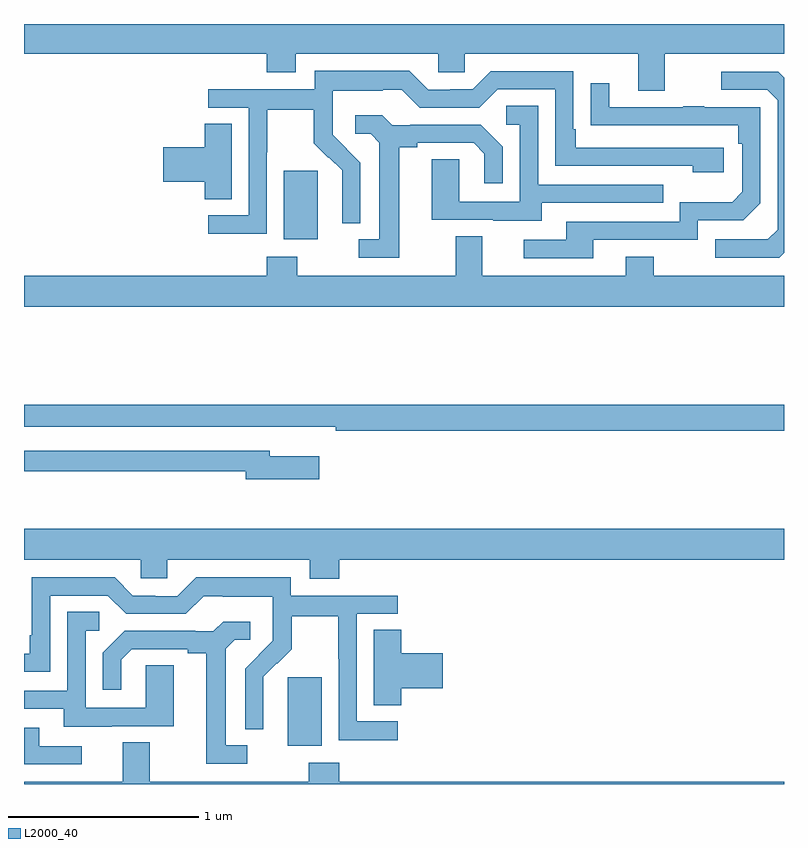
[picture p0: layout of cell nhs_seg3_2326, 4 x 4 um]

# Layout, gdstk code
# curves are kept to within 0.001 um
import gdstk
lib = gdstk.Library(unit=1e-6, precision=1e-09)
def R(c, l, rs):  # rectangles x0, y0, x1, y1
    for r in rs: c.add(gdstk.rectangle(r[:2], r[2:], *l))
def P(c, l, *ps):  # polygons
    for p in ps: c.add(gdstk.Polygon(p, *l))
L2000_40 = (2000, 40)

nhs_seg3_2326 = lib.new_cell('nhs_seg3_2326')
R(nhs_seg3_2326, L2000_40, [(232.388,702.602,232.567,702.963), (232.367,705.266,232.546,705.627)])
P(nhs_seg3_2326, L2000_40, [(231,706.244),(232.277,706.244),(232.277,706.145),(232.429,706.145),(232.429,706.244),(233.181,706.244),(233.181,706.146),(233.319,706.146),(233.319,706.244),(234.233,706.244),(234.233,706.05),(234.373,706.05),(234.373,706.244),(235,706.244),(235,706.4),(231,706.4)],
  [(232.278,705.724),(232.281,705.724),(232.281,705.948),(232.525,705.948),(232.525,705.773),(232.602,705.696),(232.605,705.699),(232.676,705.629),(232.676,705.506),(232.674,705.506),(232.674,705.352),(232.77,705.352),(232.77,705.67),(232.624,705.818),(232.624,705.915),(232.626,705.915),(232.626,706.049),(232.889,706.049),(232.889,706.053),(232.989,706.053),(233.082,705.96),(233.397,705.96),(233.493,706.056),(233.796,706.056),(233.796,705.654),(234.521,705.654),(234.521,705.62),(234.682,705.62),(234.682,705.75),(233.905,705.75),(233.905,705.847),(233.892,705.847),(233.892,706.152),(233.457,706.152),(233.361,706.056),(233.243,706.056),(233.243,706.053),(233.127,706.053),(233.027,706.153),(232.53,706.153),(232.53,706.056),(231.969,706.056),(231.969,705.96),(232.182,705.96),(232.182,705.393),(231.969,705.393),(231.969,705.295),(232.278,705.295)],
  [(235,705.196),(235,706.118),(234.969,706.149),(234.669,706.149),(234.669,706.053),(234.912,706.053),(234.966,705.999),(234.966,705.318),(234.915,705.267),(234.639,705.267),(234.639,705.171),(234.975,705.171)],
  [(233.995,705.264),(234.546,705.264),(234.546,705.366),(234.786,705.366),(234.876,705.456),(234.876,705.963),(234.581,705.963),(234.581,705.968),(234.469,705.968),(234.469,705.963),(234.079,705.963),(234.079,706.087),(233.983,706.087),(233.983,705.868),(234.76,705.867),(234.76,705.77),(234.78,705.77),(234.78,705.516),(234.727,705.463),(234.45,705.463),(234.45,705.36),(233.855,705.36),(233.855,705.264),(233.631,705.264),(233.631,705.168),(233.995,705.168)],
  [(233.725,705.459),(234.365,705.459),(234.365,705.555),(233.706,705.555),(233.706,705.971),(233.538,705.971),(233.538,705.87),(233.61,705.87),(233.61,705.465),(233.292,705.465),(233.292,705.689),(233.147,705.689),(233.147,705.369),(233.471,705.369),(233.471,705.365),(233.725,705.365)],
  [(232.975,705.752),(233.071,705.752),(233.071,705.774),(233.366,705.774),(233.423,705.717),(233.423,705.561),(233.52,705.561),(233.52,705.754),(233.404,705.87),(233.032,705.87),(233.032,705.867),(232.938,705.867),(232.886,705.919),(232.743,705.919),(232.743,705.822),(232.824,705.822),(232.871,705.775),(232.871,705.267),(232.761,705.267),(232.761,705.171),(232.975,705.171)],
  [(232.093,705.875),(231.95,705.875),(231.95,705.752),(231.732,705.752),(231.732,705.569),(231.95,705.569),(231.95,705.478),(232.093,705.478)],
  [(235,705.076),(234.315,705.076),(234.315,705.175),(234.167,705.175),(234.167,705.076),(233.413,705.076),(233.413,705.284),(233.273,705.284),(233.273,705.076),(232.437,705.076),(232.437,705.175),(232.277,705.175),(232.277,705.076),(231,705.076),(231,704.912),(235,704.912)],
  [(235,704.396),(231,704.396),(231,704.28),(232.39,704.28),(232.39,704.279),(232.642,704.279),(232.642,704.26),(235,704.26)],
  [(232.555,704.125),(232.294,704.125),(232.294,704.154),(231,704.154),(231,704.046),(232.166,704.046),(232.166,704.003),(232.555,704.003)],
  [(232.658,703.58),(235,703.58),(235,703.744),(231,703.744),(231,703.58),(231.615,703.58),(231.615,703.482),(231.753,703.482),(231.753,703.58),(232.505,703.58),(232.505,703.481),(232.658,703.481)],
  [(232.966,702.729),(232.752,702.729),(232.752,703.296),(232.966,703.296),(232.966,703.392),(232.404,703.392),(232.404,703.489),(231.907,703.489),(231.807,703.389),(231.692,703.389),(231.692,703.392),(231.573,703.392),(231.477,703.488),(231.042,703.488),(231.042,703.183),(231.029,703.183),(231.029,703.086),(231,703.086),(231,702.99),(231.138,702.99),(231.138,703.392),(231.441,703.392),(231.537,703.296),(231.852,703.296),(231.945,703.389),(232.045,703.389),(232.045,703.385),(232.308,703.385),(232.308,703.251),(232.31,703.251),(232.31,703.154),(232.164,703.006),(232.164,702.688),(232.26,702.688),(232.259,702.965),(232.329,703.035),(232.332,703.032),(232.409,703.109),(232.409,703.284),(232.654,703.284),(232.654,703.06),(232.656,703.06),(232.656,702.631),(232.966,702.631)],
  [(231.463,702.705),(231.787,702.705),(231.787,703.025),(231.642,703.025),(231.642,702.801),(231.324,702.801),(231.324,703.206),(231.397,703.206),(231.397,703.307),(231.228,703.307),(231.228,702.891),(231,702.891),(231,702.795),(231.209,702.795),(231.209,702.701),(231.463,702.701)],
  [(232.174,702.603),(232.063,702.603),(232.063,703.111),(232.11,703.158),(232.192,703.158),(232.192,703.255),(232.048,703.255),(231.996,703.203),(231.902,703.203),(231.902,703.206),(231.53,703.206),(231.414,703.09),(231.414,702.897),(231.511,702.897),(231.511,703.053),(231.568,703.11),(231.863,703.11),(231.863,703.088),(231.959,703.088),(231.959,702.507),(232.174,702.507)],
  [(232.985,702.905),(233.203,702.905),(233.203,703.088),(232.985,703.088),(232.985,703.211),(232.841,703.211),(232.841,702.814),(232.985,702.814)],
  [(231.304,702.6),(231.079,702.6),(231.079,702.696),(231,702.696),(231,702.504),(231.304,702.504)],
  [(235,702.412),(232.658,702.412),(232.658,702.511),(232.498,702.511),(232.498,702.412),(231.661,702.412),(231.661,702.62),(231.521,702.62),(231.521,702.412),(231,702.412),(231,702.4),(235,702.4)])

lib.write_gds('nhs_seg3_2326.gds')
